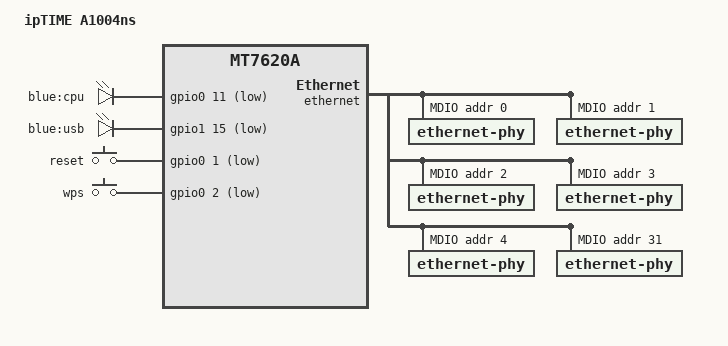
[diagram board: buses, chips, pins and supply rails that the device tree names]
// SPDX-License-Identifier: GPL-2.0-or-later OR MIT

#include "mt7620a_iptime.dtsi"

/ {
	compatible = "iptime,a1004ns", "ralink,mt7620a-soc";
	model = "ipTIME A1004ns";

	aliases {
		led-boot = &led_cpu;
		led-failsafe = &led_cpu;
		led-running = &led_cpu;
		led-upgrade = &led_cpu;
	};

	leds {
		compatible = "gpio-leds";

		led_cpu: cpu {
			label = "blue:cpu";
			gpios = <&gpio0 11 GPIO_ACTIVE_LOW>;
		};

		usb {
			label = "blue:usb";
			gpios = <&gpio1 15 GPIO_ACTIVE_LOW>;
			trigger-sources = <&ohci_port1>, <&ehci_port1>;
			linux,default-trigger = "usbport";
		};
	};

	keys {
		compatible = "gpio-keys";

		reset {
			label = "reset";
			gpios = <&gpio0 1 GPIO_ACTIVE_LOW>;
			linux,code = <KEY_RESTART>;
		};

		wps {
			label = "wps";
			gpios = <&gpio0 2 GPIO_ACTIVE_LOW>;
			linux,code = <KEY_WPS_BUTTON>;
		};
	};
};

&firmware {
	reg = <0x30000 0xfd0000>;
};

&state_default {
	gpio {
		groups = "i2c", "uartf", "spi refclk";
		function = "gpio";
	};
};

&ethernet {
	pinctrl-names = "default";
	pinctrl-0 = <&rgmii1_pins &mdio_pins>;

	port@5 {
		status = "okay";
		mediatek,fixed-link = <1000 1 1 1>;
		phy-mode = "rgmii";
	};

	mdio-bus {
		status = "okay";

		ethernet-phy@0 {
			reg = <0>;
			phy-mode = "rgmii";
		};

		ethernet-phy@1 {
			reg = <1>;
			phy-mode = "rgmii";
		};

		ethernet-phy@2 {
			reg = <2>;
			phy-mode = "rgmii";
		};

		ethernet-phy@3 {
			reg = <3>;
			phy-mode = "rgmii";
		};

		ethernet-phy@4 {
			reg = <4>;
			phy-mode = "rgmii";
		};

		ethernet-phy@1f {
			reg = <0x1f>;
			phy-mode = "rgmii";
		};
	};
};
